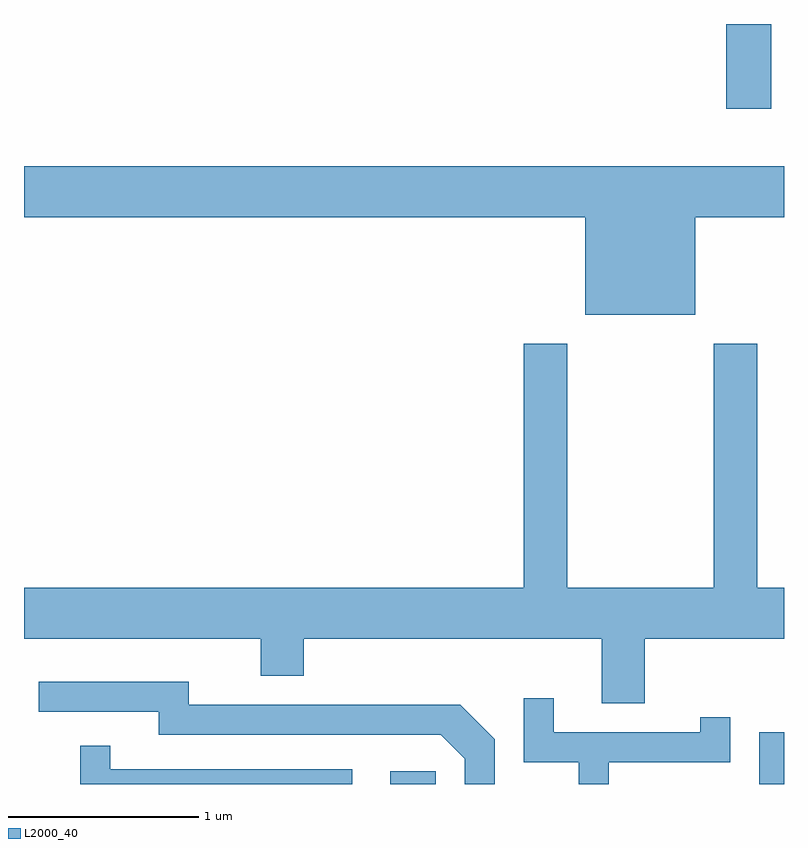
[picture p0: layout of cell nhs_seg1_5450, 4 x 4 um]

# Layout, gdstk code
import gdstk
lib = gdstk.Library(unit=1e-6, precision=1e-09)
def R(c, l, rs):  # rectangles x0, y0, x1, y1
    for r in rs: c.add(gdstk.rectangle(r[:2], r[2:], *l))
def P(c, l, *ps):  # polygons
    for p in ps: c.add(gdstk.Polygon(p, *l))
L2000_40 = (2000, 40)

nhs_seg1_5450 = lib.new_cell('nhs_seg1_5450')
R(nhs_seg1_5450, L2000_40, [(351.538,887.712,351.779,887.779), (353.481,887.712,353.611,887.984), (353.306,891.266,353.544,891.712)])
P(nhs_seg1_5450, L2000_40, [(353.144,890.696),(353.611,890.696),(353.611,890.964),(349.611,890.964),(349.611,890.696),(352.566,890.696),(352.566,890.181),(353.144,890.181)],
  [(352.879,888.476),(353.611,888.476),(353.611,888.744),(353.469,888.744),(353.469,890.029),(353.241,890.029),(353.241,888.744),(352.469,888.744),(352.469,890.029),(352.241,890.029),(352.241,888.744),(349.611,888.744),(349.611,888.476),(350.856,888.476),(350.856,888.281),(351.084,888.281),(351.084,888.476),(352.651,888.476),(352.651,888.136),(352.879,888.136)],
  [(352.089,887.947),(351.907,888.129),(350.479,888.129),(350.479,888.249),(349.688,888.249),(349.688,888.091),(350.321,888.091),(350.321,887.971),(351.804,887.971),(351.931,887.844),(351.931,887.712),(352.089,887.712)],
  [(352.689,887.826),(353.329,887.826),(353.329,888.063),(353.171,888.063),(353.171,887.984),(352.399,887.984),(352.399,888.163),(352.241,888.163),(352.241,887.826),(352.531,887.826),(352.531,887.712),(352.689,887.712)],
  [(351.338,887.789),(350.064,887.789),(350.064,887.913),(349.906,887.913),(349.906,887.712),(351.338,887.712)])

lib.write_gds('nhs_seg1_5450.gds')
